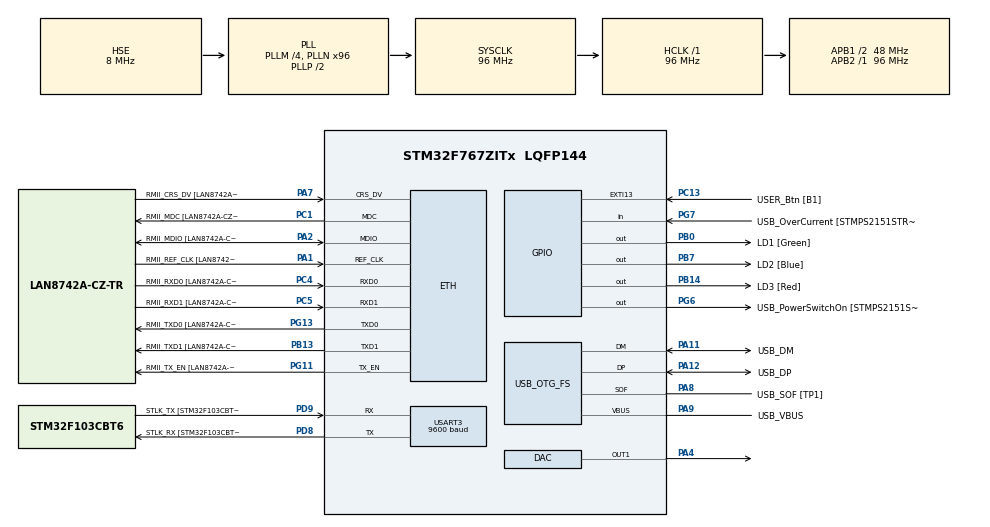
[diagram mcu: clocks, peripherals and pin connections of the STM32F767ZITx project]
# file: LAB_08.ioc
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DAC.DAC_Trigger=DAC_TRIGGER_T2_TRGO
DAC.WaveGeneration=DISABLE
Dma.DAC1.0.Direction=DMA_MEMORY_TO_PERIPH
Dma.DAC1.0.FIFOMode=DMA_FIFOMODE_DISABLE
Dma.DAC1.0.Instance=DMA1_Stream5
Dma.DAC1.0.MemDataAlignment=DMA_MDATAALIGN_HALFWORD
Dma.DAC1.0.MemInc=DMA_MINC_ENABLE
Dma.DAC1.0.Mode=DMA_CIRCULAR
Dma.DAC1.0.PeriphDataAlignment=DMA_PDATAALIGN_HALFWORD
Dma.DAC1.0.PeriphInc=DMA_PINC_DISABLE
Dma.DAC1.0.Priority=DMA_PRIORITY_LOW
Dma.Request0=DAC1
ETH.MediaInterface=HAL_ETH_RMII_MODE
ETH.PHY_Name=LAN8742A_PHY_ADDRESS
ETH.PHY_Value=0
ETH.PhyAddress=0
Mcu.Family=STM32F7
Mcu.Name=STM32F767ZITx
Mcu.Package=LQFP144
NVIC.DMA1_Stream5_IRQn=true\:0\:0\:false\:false\:true\:false\:true\:true
NVIC.PriorityGroup=NVIC_PRIORITYGROUP_4
NVIC.TIM3_IRQn=true\:0\:0\:false\:false\:true\:true\:true\:true
NVIC.USART3_IRQn=true\:0\:0\:false\:false\:true\:true\:true\:true
PA1.GPIO_Label=RMII_REF_CLK [LAN8742A-CZ-TR_REFCLK0]
PA1.Mode=RMII
PA1.Signal=ETH_REF_CLK
PA10.GPIO_Label=USB_ID
PA10.Signal=USB_OTG_FS_ID
PA11.GPIO_Label=USB_DM
PA11.Mode=Device_Only
PA11.Signal=USB_OTG_FS_DM
PA12.GPIO_Label=USB_DP
PA12.Mode=Device_Only
PA12.Signal=USB_OTG_FS_DP
PA13.GPIO_Label=TMS
PA13.Mode=Serial_Wire
PA13.Signal=SYS_JTMS-SWDIO
PA14.GPIO_Label=TCK
PA14.Mode=Serial_Wire
PA14.Signal=SYS_JTCK-SWCLK
PA2.GPIO_Label=RMII_MDIO [LAN8742A-CZ-TR_MDIO]
PA2.Mode=RMII
PA2.Signal=ETH_MDIO
PA4.Signal=COMP_DAC1_group
PA7.GPIO_Label=RMII_CRS_DV [LAN8742A-CZ-TR_CRS_DV]
PA7.Mode=RMII
PA7.Signal=ETH_CRS_DV
PA8.GPIO_Label=USB_SOF [TP1]
PA8.Mode=Activate_SOF_FS
PA8.Signal=USB_OTG_FS_SOF
PA9.GPIO_Label=USB_VBUS
PA9.Mode=Activate_VBUS
PA9.Signal=USB_OTG_FS_VBUS
PB0.GPIO_Label=LD1 [Green]
PB0.Signal=GPIO_Output
PB13.GPIO_Label=RMII_TXD1 [LAN8742A-CZ-TR_TXD1]
PB13.Mode=RMII
PB13.Signal=ETH_TXD1
PB14.GPIO_Label=LD3 [Red]
PB14.Signal=GPIO_Output
PB3.GPIO_Label=SWO
PB3.Signal=SYS_JTDO-SWO
PB7.GPIO_Label=LD2 [Blue]
PB7.Signal=GPIO_Output
PC1.GPIO_Label=RMII_MDC [LAN8742A-CZ-TR_MDC]
PC1.Mode=RMII
PC1.Signal=ETH_MDC
PC13.GPIO_Label=USER_Btn [B1]
PC13.Signal=GPXTI13
PC14/OSC32_IN.Mode=LSE-External-Oscillator
PC14/OSC32_IN.Signal=RCC_OSC32_IN
PC15/OSC32_OUT.Mode=LSE-External-Oscillator
PC15/OSC32_OUT.Signal=RCC_OSC32_OUT
PC4.GPIO_Label=RMII_RXD0 [LAN8742A-CZ-TR_RXD0]
PC4.Mode=RMII
PC4.Signal=ETH_RXD0
PC5.GPIO_Label=RMII_RXD1 [LAN8742A-CZ-TR_RXD1]
PC5.Mode=RMII
PC5.Signal=ETH_RXD1
PD8.GPIO_Label=STLK_RX [STM32F103CBT6_PA3]
PD8.Mode=Asynchronous
PD8.Signal=USART3_TX
PD9.GPIO_Label=STLK_TX [STM32F103CBT6_PA2]
PD9.Mode=Asynchronous
PD9.Signal=USART3_RX
PG11.GPIO_Label=RMII_TX_EN [LAN8742A-CZ-TR_TXEN]
PG11.Mode=RMII
PG11.Signal=ETH_TX_EN
PG13.GPIO_Label=RMII_TXD0 [LAN8742A-CZ-TR_TXD0]
PG13.Mode=RMII
PG13.Signal=ETH_TXD0
PG6.GPIO_Label=USB_PowerSwitchOn [STMPS2151STR_EN]
PG6.Signal=GPIO_Output
PG7.GPIO_Label=USB_OverCurrent [STMPS2151STR_FAULT]
PG7.Signal=GPIO_Input
PH0/OSC_IN.GPIO_Label=MCO [STM32F103CBT6_PA8]
PH0/OSC_IN.Mode=HSE-External-Clock-Source
PH0/OSC_IN.Signal=RCC_OSC_IN
PH1/OSC_OUT.Mode=HSE-External-Clock-Source
PH1/OSC_OUT.Signal=RCC_OSC_OUT
ProjectManager.HeapSize=0x200
ProjectManager.StackSize=0x400
ProjectManager.TargetToolchain=STM32CubeIDE
RCC.48MHZClocksFreq_Value=24000000
RCC.AHBFreq_Value=96000000
RCC.APB1CLKDivider=RCC_HCLK_DIV2
RCC.APB1Freq_Value=48000000
RCC.APB1TimFreq_Value=96000000
RCC.APB2Freq_Value=96000000
RCC.APB2TimFreq_Value=96000000
RCC.CortexFreq_Value=96000000
RCC.HCLKFreq_Value=96000000
RCC.HSE_VALUE=8000000
RCC.HSI_VALUE=16000000
RCC.PLLM=4
RCC.PLLMUL=RCC_PLL_MUL9
RCC.PLLN=96
RCC.PLLQ=4
RCC.PRESCALERUSB=RCC_USBCLKSOURCE_PLL_DIV1_5
RCC.SYSCLKFreq_VALUE=96000000
RCC.SYSCLKSource=RCC_SYSCLKSOURCE_PLLCLK
RCC.SYSCLKSourceVirtual=RCC_SYSCLKSOURCE_PLLCLK
RCC.USBFreq_Value=48000000
RCC.VCOOutputFreq_Value=192000000
SH.COMP_DAC1_group.0=DAC_OUT1,DAC_OUT1
TIM2.Period=999
TIM2.Prescaler=215
TIM2.TIM_MasterOutputTrigger=TIM_TRGO_UPDATE
TIM3.Period=99
TIM3.Prescaler=959
USART3.BaudRate=9600
USART3.VirtualMode-Asynchronous=VM_ASYNC
USB_OTG_FS.VirtualMode=Device_Only
VP_TIM2_VS_ClockSourceINT.Mode=Internal
VP_TIM3_VS_ClockSourceINT.Mode=Internal
board=NUCLEO-F767ZI

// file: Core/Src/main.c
/* USER CODE BEGIN Header */
/**
 ******************************************************************************
 * @file           : main.c
 * @brief          : Main program body
 ******************************************************************************
 * @attention
 *
 * Copyright (c) 2025 STMicroelectronics.
 * All rights reserved.
 *
 * This software is licensed under terms that can be found in the LICENSE file
 * in the root directory of this software component.
 * If no LICENSE file comes with this software, it is provided AS-IS.
 *
 ******************************************************************************
 */
/* USER CODE END Header */
#include "main.h"
#include "string.h"

/* USER CODE BEGIN Includes */

#include <math.h>
#include <stdio.h>
#include <stdlib.h>

#include "signal.h"

/* USER CODE END Includes */

#if defined ( __ICCARM__ ) /*!< IAR Compiler */
#pragma location=0x2007c000
ETH_DMADescTypeDef DMARxDscrTab[ETH_RX_DESC_CNT]; /* Ethernet Rx DMA Descriptors */
#pragma location=0x2007c0a0
ETH_DMADescTypeDef DMATxDscrTab[ETH_TX_DESC_CNT]; /* Ethernet Tx DMA Descriptors */

#elif defined ( __CC_ARM )  /* MDK ARM Compiler */

__attribute__((at(0x2007c000))) ETH_DMADescTypeDef DMARxDscrTab[ETH_RX_DESC_CNT]; /* Ethernet Rx DMA Descriptors */
__attribute__((at(0x2007c0a0))) ETH_DMADescTypeDef DMATxDscrTab[ETH_TX_DESC_CNT]; /* Ethernet Tx DMA Descriptors */

#elif defined ( __GNUC__ ) /* GNU Compiler */

ETH_DMADescTypeDef DMARxDscrTab[ETH_RX_DESC_CNT] __attribute__((section(".RxDecripSection"))); /* Ethernet Rx DMA Descriptors */
ETH_DMADescTypeDef DMATxDscrTab[ETH_TX_DESC_CNT] __attribute__((section(".TxDecripSection"))); /* Ethernet Tx DMA Descriptors */
#endif

ETH_TxPacketConfig TxConfig;

DAC_HandleTypeDef hdac;
DMA_HandleTypeDef hdma_dac1;

ETH_HandleTypeDef heth;

TIM_HandleTypeDef htim2;
TIM_HandleTypeDef htim3;

UART_HandleTypeDef huart3;

PCD_HandleTypeDef hpcd_USB_OTG_FS;

void SystemClock_Config(void);
static void MX_GPIO_Init(void);
static void MX_DMA_Init(void);
static void MX_ETH_Init(void);
static void MX_USART3_UART_Init(void);
static void MX_USB_OTG_FS_PCD_Init(void);
static void MX_DAC_Init(void);
static void MX_TIM2_Init(void);
static void MX_TIM3_Init(void);

/* USER CODE BEGIN 0 */

#define ZADANIE 3

void DAC_SetVoltage(float volts) {

	float value = volts / 3.3 * 4095;

	HAL_DAC_SetValue(&hdac, DAC_CHANNEL_1, DAC_ALIGN_12B_R, value);

}

#define SAMPLES 100

uint32_t signal_idx = 0;

uint32_t sin_table[SAMPLES] = { 1250, 1329, 1408, 1487, 1564, 1640, 1715, 1787, 1858, 1926, 1991, 2053, 2113, 2168,
		2220, 2268, 2312, 2352, 2387, 2418, 2444, 2465, 2481, 2492, 2499, 2500, 2496, 2487, 2474, 2455, 2431, 2403,
		2370, 2333, 2291, 2245, 2195, 2141, 2083, 2023, 1959, 1892, 1823, 1751, 1678, 1602, 1525, 1448, 1369, 1290,
		1210, 1131, 1052, 975, 898, 822, 749, 677, 608, 541, 477, 417, 359, 305, 255, 209, 167, 130, 97, 69, 45, 26, 13,
		4, 0, 1, 8, 19, 35, 56, 82, 113, 148, 188, 232, 280, 332, 387, 447, 509, 574, 642, 713, 785, 860, 936, 1013,
		1092, 1171, 1250 };

uint32_t current_value;

float volts;

float scale = 1.0f;

void HAL_TIM_PeriodElapsedCallback(TIM_HandleTypeDef *htim) {
	if (htim->Instance == TIM3) {

#if ZADANIE == 2 || ZADANIE == 3
		current_value = sin_table[signal_idx] * scale;

		volts = ((float) current_value / 4095.0f) * 3.3f;

		HAL_DAC_SetValue(&hdac, DAC_CHANNEL_1, DAC_ALIGN_12B_R, current_value);
		signal_idx++;

		if (signal_idx == SAMPLES) {
			signal_idx = 0;
		}

		char buffer[32];

//		int calkowita = (int) volts;

// Odejmujemy cześć całkowitą, mnożymy przez 100 (dla 2 miejsc po przecinku) i znowu rzutujemy
//		int ulamkowa = (int) ((volts - calkowita) * 100);

//// %d.%02d oznacza: liczba, kropka, liczba (uzupełniona zerem jeśli <10, np. .05)
//		sprintf(buffer, "%d\r\n", current_value);
//		UART_TransmitMessage(buffer);

#endif

#if ZADANIE == 4

		current_value = signal_data[signal_idx];

		HAL_DAC_SetValue(&hdac, DAC_CHANNEL_1, DAC_ALIGN_12B_R, current_value);

		signal_idx++;
		if (signal_idx == SIGNAL_SIZE) {
			signal_idx = 0;
		}

#endif

	}
}

void UART_TransmitMessage(char *msg) {
	HAL_UART_Transmit(&huart3, (uint8_t*) msg, strlen(msg), HAL_MAX_DELAY);
}

uint8_t rx_byte;
uint8_t rxBuffer[256];
uint16_t idx = 0;

float receivedValue;

void processMessage(char *msg) {

	receivedValue = strtof((char*) msg, NULL);

	if (receivedValue > 2.0f)
		receivedValue = 2.0f;

	if (receivedValue < 0.0f)
		receivedValue = 0.0f;

	scale = receivedValue / 2.0f;

}

void HAL_UART_RxCpltCallback(UART_HandleTypeDef *huart) {
	if (huart->Instance == USART3) {
		uint8_t byte = rx_byte;

		if (byte == '\r') {
			rxBuffer[idx] = '\0';
			processMessage((char*) rxBuffer);
			idx = 0;
		} else {
			if (idx < 256 - 1) {
				rxBuffer[idx++] = byte;
			} else {
				idx = 0;   // overflow handling
			}
		}
		HAL_UART_Receive_IT(&huart3, &rx_byte, 1);
	}
}

void HAL_DAC_ConvCpltCallbackCh1(DAC_HandleTypeDef *hdac) {
	current_value = signal_data[SIGNAL_SIZE - 1]; // ostatnia wartość w cyklu
}

/* USER CODE END 0 */

int main(void) {

	/* MCU Configuration--------------------------------------------------------*/

	/* Reset of all peripherals, Initializes the Flash interface and the Systick. */
	HAL_Init();

	/* Configure the system clock */
	SystemClock_Config();

	/* Initialize all configured peripherals */
	MX_GPIO_Init();
	MX_DMA_Init();
	MX_ETH_Init();
	MX_USART3_UART_Init();
	MX_USB_OTG_FS_PCD_Init();
	MX_DAC_Init();
	MX_TIM2_Init();
	MX_TIM3_Init();
	/* USER CODE BEGIN 2 */

#if ZADANIE == 1
	HAL_TIM_Base_Start(&htim2);

	HAL_DAC_Start(&hdac, DAC_CHANNEL_1);

	DAC_SetVoltage(2.11);

#endif

#if ZADANIE == 2
	HAL_TIM_Base_Start(&htim2);
	HAL_TIM_Base_Start_IT(&htim3);
	HAL_DAC_Start(&hdac, DAC_CHANNEL_1);

#endif

#if ZADANIE == 3
	HAL_TIM_Base_Start(&htim2);
	HAL_TIM_Base_Start_IT(&htim3);
	HAL_DAC_Start(&hdac, DAC_CHANNEL_1);

	HAL_UART_Receive_IT(&huart3, &rx_byte, 1);

#endif

#if ZADANIE == 4
	HAL_TIM_Base_Start(&htim2);
	HAL_TIM_Base_Start_IT(&htim3);
	HAL_DAC_Start(&hdac, DAC_CHANNEL_1);

#endif

#if ZADANIE == 5
	HAL_TIM_Base_Start(&htim2);
//	HAL_TIM_Base_Start_IT(&htim3);
//	HAL_DAC_Start(&hdac, DAC_CHANNEL_1);
	HAL_DAC_Start_DMA(&hdac, DAC_CHANNEL_1, (uint32_t*) signal_data, SIGNAL_SIZE, DAC_ALIGN_12B_R);
//	HAL_TIM_Base_Start(&htim3);

#endif

	/* USER CODE END 2 */

	/* Infinite loop */
	/* USER CODE BEGIN WHILE */
	while (1) {
		HAL_Delay(10);
		/* USER CODE END WHILE */

	}
}

void SystemClock_Config(void) {
	RCC_OscInitTypeDef RCC_OscInitStruct = { 0 };
	RCC_ClkInitTypeDef RCC_ClkInitStruct = { 0 };

	/** Configure LSE Drive Capability
	 */
	HAL_PWR_EnableBkUpAccess();

	/** Configure the main internal regulator output voltage
	 */
	__HAL_RCC_PWR_CLK_ENABLE();
	__HAL_PWR_VOLTAGESCALING_CONFIG(PWR_REGULATOR_VOLTAGE_SCALE3);

	/** Initializes the RCC Oscillators according to the specified parameters
	 * in the RCC_OscInitTypeDef structure.
	 */
	RCC_OscInitStruct.OscillatorType = RCC_OSCILLATORTYPE_HSE;
	RCC_OscInitStruct.HSEState = RCC_HSE_BYPASS;
	RCC_OscInitStruct.PLL.PLLState = RCC_PLL_ON;
	RCC_OscInitStruct.PLL.PLLSource = RCC_PLLSOURCE_HSE;
	RCC_OscInitStruct.PLL.PLLM = 4;
	RCC_OscInitStruct.PLL.PLLN = 96;
	RCC_OscInitStruct.PLL.PLLP = RCC_PLLP_DIV2;
	RCC_OscInitStruct.PLL.PLLQ = 4;
	RCC_OscInitStruct.PLL.PLLR = 2;
	if (HAL_RCC_OscConfig(&RCC_OscInitStruct) != HAL_OK) {
		Error_Handler();
	}

	/** Activate the Over-Drive mode
	 */
	if (HAL_PWREx_EnableOverDrive() != HAL_OK) {
		Error_Handler();
	}

	/** Initializes the CPU, AHB and APB buses clocks
	 */
	RCC_ClkInitStruct.ClockType = RCC_CLOCKTYPE_HCLK | RCC_CLOCKTYPE_SYSCLK | RCC_CLOCKTYPE_PCLK1 | RCC_CLOCKTYPE_PCLK2;
	RCC_ClkInitStruct.SYSCLKSource = RCC_SYSCLKSOURCE_PLLCLK;
	RCC_ClkInitStruct.AHBCLKDivider = RCC_SYSCLK_DIV1;
	RCC_ClkInitStruct.APB1CLKDivider = RCC_HCLK_DIV2;
	RCC_ClkInitStruct.APB2CLKDivider = RCC_HCLK_DIV1;

	if (HAL_RCC_ClockConfig(&RCC_ClkInitStruct, FLASH_LATENCY_3) != HAL_OK) {
		Error_Handler();
	}
}

static void MX_DAC_Init(void) {

	DAC_ChannelConfTypeDef sConfig = { 0 };

	/** DAC Initialization
	 */
	hdac.Instance = DAC;
	if (HAL_DAC_Init(&hdac) != HAL_OK) {
		Error_Handler();
	}

	/** DAC channel OUT1 config
	 */
	sConfig.DAC_Trigger = DAC_TRIGGER_T2_TRGO;
	sConfig.DAC_OutputBuffer = DAC_OUTPUTBUFFER_ENABLE;
	if (HAL_DAC_ConfigChannel(&hdac, &sConfig, DAC_CHANNEL_1) != HAL_OK) {
		Error_Handler();
	}

}

static void MX_ETH_Init(void) {

	static uint8_t MACAddr[6];

	heth.Instance = ETH;
	MACAddr[0] = 0x00;
	MACAddr[1] = 0x80;
	MACAddr[2] = 0xE1;
	MACAddr[3] = 0x00;
	MACAddr[4] = 0x00;
	MACAddr[5] = 0x00;
	heth.Init.MACAddr = &MACAddr[0];
	heth.Init.MediaInterface = HAL_ETH_RMII_MODE;
	heth.Init.TxDesc = DMATxDscrTab;
	heth.Init.RxDesc = DMARxDscrTab;
	heth.Init.RxBuffLen = 1524;

	if (HAL_ETH_Init(&heth) != HAL_OK) {
		Error_Handler();
	}

	memset(&TxConfig, 0, sizeof(ETH_TxPacketConfig));
	TxConfig.Attributes = ETH_TX_PACKETS_FEATURES_CSUM | ETH_TX_PACKETS_FEATURES_CRCPAD;
	TxConfig.ChecksumCtrl = ETH_CHECKSUM_IPHDR_PAYLOAD_INSERT_PHDR_CALC;
	TxConfig.CRCPadCtrl = ETH_CRC_PAD_INSERT;

}

static void MX_TIM2_Init(void) {

	TIM_ClockConfigTypeDef sClockSourceConfig = { 0 };
	TIM_MasterConfigTypeDef sMasterConfig = { 0 };

	htim2.Instance = TIM2;
	htim2.Init.Prescaler = 215;
	htim2.Init.CounterMode = TIM_COUNTERMODE_UP;
	htim2.Init.Period = 999;
	htim2.Init.ClockDivision = TIM_CLOCKDIVISION_DIV1;
	htim2.Init.AutoReloadPreload = TIM_AUTORELOAD_PRELOAD_DISABLE;
	if (HAL_TIM_Base_Init(&htim2) != HAL_OK) {
		Error_Handler();
	}
	sClockSourceConfig.ClockSource = TIM_CLOCKSOURCE_INTERNAL;
	if (HAL_TIM_ConfigClockSource(&htim2, &sClockSourceConfig) != HAL_OK) {
		Error_Handler();
	}
	sMasterConfig.MasterOutputTrigger = TIM_TRGO_UPDATE;
	sMasterConfig.MasterSlaveMode = TIM_MASTERSLAVEMODE_DISABLE;
	if (HAL_TIMEx_MasterConfigSynchronization(&htim2, &sMasterConfig) != HAL_OK) {
		Error_Handler();
	}

}

static void MX_TIM3_Init(void) {

	TIM_ClockConfigTypeDef sClockSourceConfig = { 0 };
	TIM_MasterConfigTypeDef sMasterConfig = { 0 };

	htim3.Instance = TIM3;
	htim3.Init.Prescaler = 959;
	htim3.Init.CounterMode = TIM_COUNTERMODE_UP;
	htim3.Init.Period = 99;
	htim3.Init.ClockDivision = TIM_CLOCKDIVISION_DIV1;
	htim3.Init.AutoReloadPreload = TIM_AUTORELOAD_PRELOAD_DISABLE;
	if (HAL_TIM_Base_Init(&htim3) != HAL_OK) {
		Error_Handler();
	}
	sClockSourceConfig.ClockSource = TIM_CLOCKSOURCE_INTERNAL;
	if (HAL_TIM_ConfigClockSource(&htim3, &sClockSourceConfig) != HAL_OK) {
		Error_Handler();
	}
	sMasterConfig.MasterOutputTrigger = TIM_TRGO_RESET;
	sMasterConfig.MasterSlaveMode = TIM_MASTERSLAVEMODE_DISABLE;
	if (HAL_TIMEx_MasterConfigSynchronization(&htim3, &sMasterConfig) != HAL_OK) {
		Error_Handler();
	}

}

static void MX_USART3_UART_Init(void) {

	huart3.Instance = USART3;
	huart3.Init.BaudRate = 9600;
	huart3.Init.WordLength = UART_WORDLENGTH_8B;
	huart3.Init.StopBits = UART_STOPBITS_1;
	huart3.Init.Parity = UART_PARITY_NONE;
	huart3.Init.Mode = UART_MODE_TX_RX;
	huart3.Init.HwFlowCtl = UART_HWCONTROL_NONE;
	huart3.Init.OverSampling = UART_OVERSAMPLING_16;
	huart3.Init.OneBitSampling = UART_ONE_BIT_SAMPLE_DISABLE;
	huart3.AdvancedInit.AdvFeatureInit = UART_ADVFEATURE_NO_INIT;
	if (HAL_UART_Init(&huart3) != HAL_OK) {
		Error_Handler();
	}

}

static void MX_USB_OTG_FS_PCD_Init(void) {

	hpcd_USB_OTG_FS.Instance = USB_OTG_FS;
	hpcd_USB_OTG_FS.Init.dev_endpoints = 6;
	hpcd_USB_OTG_FS.Init.speed = PCD_SPEED_FULL;
	hpcd_USB_OTG_FS.Init.dma_enable = DISABLE;
	hpcd_USB_OTG_FS.Init.phy_itface = PCD_PHY_EMBEDDED;
	hpcd_USB_OTG_FS.Init.Sof_enable = ENABLE;
	hpcd_USB_OTG_FS.Init.low_power_enable = DISABLE;
	hpcd_USB_OTG_FS.Init.lpm_enable = DISABLE;
	hpcd_USB_OTG_FS.Init.vbus_sensing_enable = ENABLE;
	hpcd_USB_OTG_FS.Init.use_dedicated_ep1 = DISABLE;
	if (HAL_PCD_Init(&hpcd_USB_OTG_FS) != HAL_OK) {
		Error_Handler();
	}

}

static void MX_DMA_Init(void) {

	/* DMA controller clock enable */
	__HAL_RCC_DMA1_CLK_ENABLE();

	/* DMA interrupt init */
	/* DMA1_Stream5_IRQn interrupt configuration */
	HAL_NVIC_SetPriority(DMA1_Stream5_IRQn, 0, 0);
	HAL_NVIC_EnableIRQ(DMA1_Stream5_IRQn);

}

static void MX_GPIO_Init(void) {
	GPIO_InitTypeDef GPIO_InitStruct = { 0 };

	/* GPIO Ports Clock Enable */
	__HAL_RCC_GPIOC_CLK_ENABLE();
	__HAL_RCC_GPIOH_CLK_ENABLE();
	__HAL_RCC_GPIOA_CLK_ENABLE();
	__HAL_RCC_GPIOB_CLK_ENABLE();
	__HAL_RCC_GPIOD_CLK_ENABLE();
	__HAL_RCC_GPIOG_CLK_ENABLE();

	/*Configure GPIO pin Output Level */
	HAL_GPIO_WritePin(GPIOB, LD1_Pin | LD3_Pin | LD2_Pin, GPIO_PIN_RESET);

	/*Configure GPIO pin Output Level */
	HAL_GPIO_WritePin(USB_PowerSwitchOn_GPIO_Port, USB_PowerSwitchOn_Pin, GPIO_PIN_RESET);

	/*Configure GPIO pin : USER_Btn_Pin */
	GPIO_InitStruct.Pin = USER_Btn_Pin;
	GPIO_InitStruct.Mode = GPIO_MODE_IT_RISING;
	GPIO_InitStruct.Pull = GPIO_NOPULL;
	HAL_GPIO_Init(USER_Btn_GPIO_Port, &GPIO_InitStruct);

	/*Configure GPIO pins : LD1_Pin LD3_Pin LD2_Pin */
	GPIO_InitStruct.Pin = LD1_Pin | LD3_Pin | LD2_Pin;
	GPIO_InitStruct.Mode = GPIO_MODE_OUTPUT_PP;
	GPIO_InitStruct.Pull = GPIO_NOPULL;
	GPIO_InitStruct.Speed = GPIO_SPEED_FREQ_LOW;
	HAL_GPIO_Init(GPIOB, &GPIO_InitStruct);

	/*Configure GPIO pin : USB_PowerSwitchOn_Pin */
	GPIO_InitStruct.Pin = USB_PowerSwitchOn_Pin;
	GPIO_InitStruct.Mode = GPIO_MODE_OUTPUT_PP;
	GPIO_InitStruct.Pull = GPIO_NOPULL;
	GPIO_InitStruct.Speed = GPIO_SPEED_FREQ_LOW;
	HAL_GPIO_Init(USB_PowerSwitchOn_GPIO_Port, &GPIO_InitStruct);

	/*Configure GPIO pin : USB_OverCurrent_Pin */
	GPIO_InitStruct.Pin = USB_OverCurrent_Pin;
	GPIO_InitStruct.Mode = GPIO_MODE_INPUT;
	GPIO_InitStruct.Pull = GPIO_NOPULL;
	HAL_GPIO_Init(USB_OverCurrent_GPIO_Port, &GPIO_InitStruct);

}

void Error_Handler(void) {
	__disable_irq();
	while (1) {
	}
}
